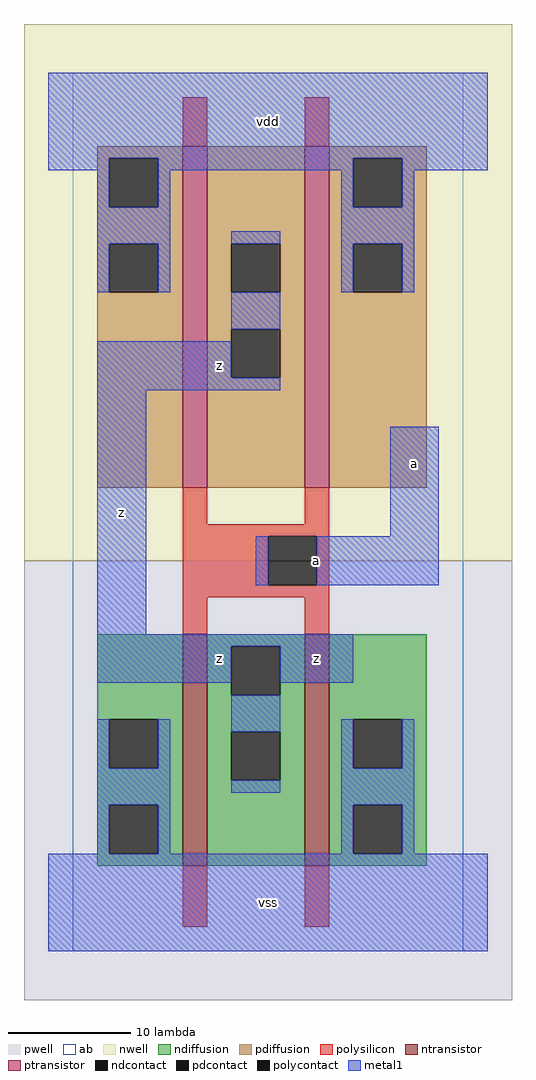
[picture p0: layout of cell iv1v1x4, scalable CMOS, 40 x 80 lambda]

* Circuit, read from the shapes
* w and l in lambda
.subckt iv1v1x4 a vdd vss z
M1 z a vss VSUBS nfet w=19 l=2 m=2
M2 z a vdd n1 pfet w=28 l=2 m=2
.ends

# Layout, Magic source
magic
tech scmos
<< ab >>
rect 0 0 32 72
<< pwell >>
rect -4 -4 36 32
<< nwell >>
rect -4 32 36 76
<< polysilicon >>
rect 9 66 11 70
rect 19 66 21 70
rect 9 35 11 38
rect 19 35 21 38
rect 9 34 21 35
rect 9 30 16 34
rect 20 30 21 34
rect 9 29 21 30
rect 9 26 11 29
rect 19 26 21 29
rect 9 2 11 7
rect 19 2 21 7
<< ndiffusion >>
rect 2 19 9 26
rect 2 15 3 19
rect 7 15 9 19
rect 2 12 9 15
rect 2 8 3 12
rect 7 8 9 12
rect 2 7 9 8
rect 11 25 19 26
rect 11 21 13 25
rect 17 21 19 25
rect 11 18 19 21
rect 11 14 13 18
rect 17 14 19 18
rect 11 7 19 14
rect 21 19 29 26
rect 21 15 23 19
rect 27 15 29 19
rect 21 12 29 15
rect 21 8 23 12
rect 27 8 29 12
rect 21 7 29 8
<< pdiffusion >>
rect 2 65 9 66
rect 2 61 3 65
rect 7 61 9 65
rect 2 58 9 61
rect 2 54 3 58
rect 7 54 9 58
rect 2 38 9 54
rect 11 58 19 66
rect 11 54 13 58
rect 17 54 19 58
rect 11 51 19 54
rect 11 47 13 51
rect 17 47 19 51
rect 11 38 19 47
rect 21 65 29 66
rect 21 61 23 65
rect 27 61 29 65
rect 21 58 29 61
rect 21 54 23 58
rect 27 54 29 58
rect 21 38 29 54
<< metal1 >>
rect -2 65 34 72
rect -2 64 3 65
rect 2 61 3 64
rect 7 64 23 65
rect 7 61 8 64
rect 2 58 8 61
rect 22 61 23 64
rect 27 64 34 65
rect 27 61 28 64
rect 2 54 3 58
rect 7 54 8 58
rect 13 58 17 59
rect 22 58 28 61
rect 22 54 23 58
rect 27 54 28 58
rect 13 51 17 54
rect 2 47 13 50
rect 2 46 17 47
rect 2 26 6 46
rect 26 34 30 43
rect 15 30 16 34
rect 20 30 30 34
rect 2 25 23 26
rect 2 22 13 25
rect 17 22 23 25
rect 2 15 3 19
rect 7 15 8 19
rect 2 12 8 15
rect 13 18 17 21
rect 13 13 17 14
rect 22 15 23 19
rect 27 15 28 19
rect 2 8 3 12
rect 7 8 8 12
rect 22 12 28 15
rect 22 8 23 12
rect 27 8 28 12
rect -2 0 34 8
<< ntransistor >>
rect 9 7 11 26
rect 19 7 21 26
<< ptransistor >>
rect 9 38 11 66
rect 19 38 21 66
<< polycontact >>
rect 16 30 20 34
<< ndcontact >>
rect 3 15 7 19
rect 3 8 7 12
rect 13 21 17 25
rect 13 14 17 18
rect 23 15 27 19
rect 23 8 27 12
<< pdcontact >>
rect 3 61 7 65
rect 3 54 7 58
rect 13 54 17 58
rect 13 47 17 51
rect 23 61 27 65
rect 23 54 27 58
<< labels >>
rlabel metal1 4 36 4 36 6 z
rlabel metal1 12 24 12 24 6 z
rlabel metal1 12 48 12 48 6 z
rlabel metal1 16 4 16 4 6 vss
rlabel metal1 20 32 20 32 6 a
rlabel metal1 20 24 20 24 6 z
rlabel metal1 16 68 16 68 6 vdd
rlabel metal1 28 40 28 40 6 a
<< end >>
